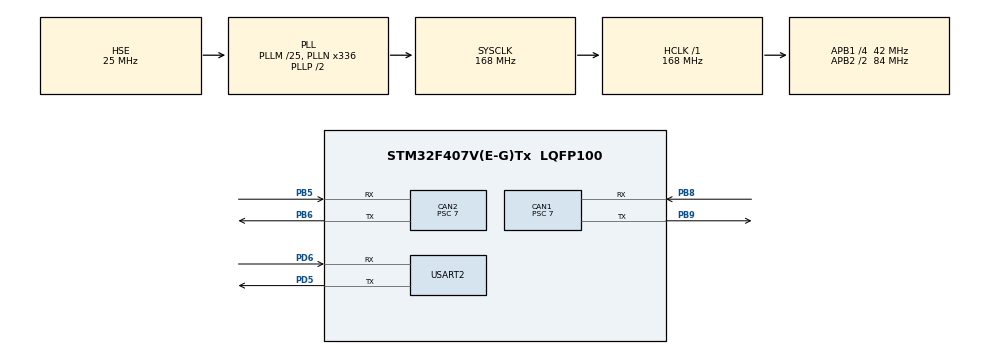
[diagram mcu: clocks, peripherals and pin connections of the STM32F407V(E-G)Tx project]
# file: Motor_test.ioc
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CAN1.BS1=CAN_BS1_3TQ
CAN1.BS2=CAN_BS2_2TQ
CAN1.CalculateBaudRate=999999
CAN1.CalculateTimeBit=1000
CAN1.CalculateTimeQuantum=166.66666666666669
CAN1.Prescaler=7
CAN2.BS1=CAN_BS1_3TQ
CAN2.BS2=CAN_BS2_2TQ
CAN2.CalculateBaudRate=999999
CAN2.CalculateTimeBit=1000
CAN2.CalculateTimeQuantum=166.66666666666669
CAN2.Prescaler=7
Mcu.Family=STM32F4
Mcu.Name=STM32F407V(E-G)Tx
Mcu.Package=LQFP100
NVIC.CAN1_RX0_IRQn=true\:0\:0\:false\:false\:true\:true\:true\:true
NVIC.CAN2_RX1_IRQn=true\:0\:0\:false\:false\:true\:true\:true\:true
NVIC.PriorityGroup=NVIC_PRIORITYGROUP_4
PA13.Mode=Serial_Wire
PA13.Signal=SYS_JTMS-SWDIO
PA14.Mode=Serial_Wire
PA14.Signal=SYS_JTCK-SWCLK
PB5.Mode=CAN_Activate
PB5.Signal=CAN2_RX
PB6.Mode=CAN_Activate
PB6.Signal=CAN2_TX
PB8.Mode=CAN_Activate
PB8.Signal=CAN1_RX
PB9.Mode=CAN_Activate
PB9.Signal=CAN1_TX
PD5.Mode=Asynchronous
PD5.Signal=USART2_TX
PD6.Mode=Asynchronous
PD6.Signal=USART2_RX
PH0-OSC_IN.Mode=HSE-External-Oscillator
PH0-OSC_IN.Signal=RCC_OSC_IN
PH1-OSC_OUT.Mode=HSE-External-Oscillator
PH1-OSC_OUT.Signal=RCC_OSC_OUT
ProjectManager.HeapSize=0x200
ProjectManager.StackSize=0x400
ProjectManager.TargetToolchain=MDK-ARM V5.32
RCC.48MHZClocksFreq_Value=84000000
RCC.AHBFreq_Value=168000000
RCC.APB1CLKDivider=RCC_HCLK_DIV4
RCC.APB1Freq_Value=42000000
RCC.APB1TimFreq_Value=84000000
RCC.APB2CLKDivider=RCC_HCLK_DIV2
RCC.APB2Freq_Value=84000000
RCC.APB2TimFreq_Value=168000000
RCC.CortexFreq_Value=168000000
RCC.HCLKFreq_Value=168000000
RCC.HSE_VALUE=25000000
RCC.HSI_VALUE=16000000
RCC.LSE_VALUE=32768
RCC.PLLM=25
RCC.PLLN=336
RCC.PLLSourceVirtual=RCC_PLLSOURCE_HSE
RCC.SYSCLKFreq_VALUE=168000000
RCC.SYSCLKSource=RCC_SYSCLKSOURCE_PLLCLK
RCC.VCOOutputFreq_Value=336000000
USART2.VirtualMode=VM_ASYNC
board=custom

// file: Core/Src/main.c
/* USER CODE BEGIN Header */
/**
  ******************************************************************************
  * @file           : main.c
  * @brief          : Main program body
  ******************************************************************************
  * @attention
  *
  * Copyright (c) 2023 STMicroelectronics.
  * All rights reserved.
  *
  * This software is licensed under terms that can be found in the LICENSE file
  * in the root directory of this software component.
  * If no LICENSE file comes with this software, it is provided AS-IS.
  *
  ******************************************************************************
  */
/* USER CODE END Header */
#include "main.h"
#include "can.h"
#include "usart.h"
#include "gpio.h"

/* USER CODE BEGIN Includes */
#include "CANDrive.h"
#include <motor.h>
/* USER CODE END Includes */

/* USER CODE BEGIN PTD */
GM3510_TypeDef My_3510_1;
GM3510_TypeDef My_3510_2;
GM3510_TypeDef My_3510_3;
GM3510_TypeDef My_3510_4;

int16_t My_speed;
int16_t data[4]={0,0,0,0};
/* USER CODE END PTD */

void SystemClock_Config(void);

int main(void)
{

  /* MCU Configuration--------------------------------------------------------*/

  /* Reset of all peripherals, Initializes the Flash interface and the Systick. */
  HAL_Init();

  /* Configure the system clock */
  SystemClock_Config();

  /* Initialize all configured peripherals */
  MX_GPIO_Init();
  MX_CAN1_Init();
  MX_CAN2_Init();
  MX_USART2_UART_Init();
  /* USER CODE BEGIN 2 */
  //开启配置
  CanFilter_Init(&hcan1);
  HAL_CAN_Start(&hcan1);
  HAL_CAN_ActivateNotification(&hcan1, CAN_IT_RX_FIFO0_MSG_PENDING);

  CanFilter_Init(&hcan2);
  HAL_CAN_Start(&hcan2);
  HAL_CAN_ActivateNotification(&hcan2, CAN_IT_RX_FIFO1_MSG_PENDING);
  /* USER CODE END 2 */

  /* Infinite loop */
  while (1)
  {

    /* USER CODE BEGIN 3 */
		data[0]=My_speed;
		MotorSend(&hcan1,0x200,data);
	  HAL_Delay(2);
  }
  /* USER CODE END 3 */
}

void SystemClock_Config(void)
{
  RCC_OscInitTypeDef RCC_OscInitStruct = {0};
  RCC_ClkInitTypeDef RCC_ClkInitStruct = {0};

  /** Configure the main internal regulator output voltage
  */
  __HAL_RCC_PWR_CLK_ENABLE();
  __HAL_PWR_VOLTAGESCALING_CONFIG(PWR_REGULATOR_VOLTAGE_SCALE1);

  /** Initializes the RCC Oscillators according to the specified parameters
  * in the RCC_OscInitTypeDef structure.
  */
  RCC_OscInitStruct.OscillatorType = RCC_OSCILLATORTYPE_HSE;
  RCC_OscInitStruct.HSEState = RCC_HSE_ON;
  RCC_OscInitStruct.PLL.PLLState = RCC_PLL_ON;
  RCC_OscInitStruct.PLL.PLLSource = RCC_PLLSOURCE_HSE;
  RCC_OscInitStruct.PLL.PLLM = 25;
  RCC_OscInitStruct.PLL.PLLN = 336;
  RCC_OscInitStruct.PLL.PLLP = RCC_PLLP_DIV2;
  RCC_OscInitStruct.PLL.PLLQ = 4;
  if (HAL_RCC_OscConfig(&RCC_OscInitStruct) != HAL_OK)
  {
    Error_Handler();
  }

  /** Initializes the CPU, AHB and APB buses clocks
  */
  RCC_ClkInitStruct.ClockType = RCC_CLOCKTYPE_HCLK|RCC_CLOCKTYPE_SYSCLK
                              |RCC_CLOCKTYPE_PCLK1|RCC_CLOCKTYPE_PCLK2;
  RCC_ClkInitStruct.SYSCLKSource = RCC_SYSCLKSOURCE_PLLCLK;
  RCC_ClkInitStruct.AHBCLKDivider = RCC_SYSCLK_DIV1;
  RCC_ClkInitStruct.APB1CLKDivider = RCC_HCLK_DIV4;
  RCC_ClkInitStruct.APB2CLKDivider = RCC_HCLK_DIV2;

  if (HAL_RCC_ClockConfig(&RCC_ClkInitStruct, FLASH_LATENCY_5) != HAL_OK)
  {
    Error_Handler();
  }
}

/* USER CODE BEGIN 4 */
void HAL_CAN_RxFifo0MsgPendingCallback(CAN_HandleTypeDef *hcan)
{
	  uint8_t data1[8];
    if(hcan->Instance == CAN1)
    {
        switch(CAN_Receive_DataFrame (hcan, data1))
					{
						//case 0x205:GM6020_Receive(&MY_6020,data1);brea
						case 0x201: GM3510_Receive(&My_3510_1,data1);
						case 0x202: GM3510_Receive(&My_3510_2,data1);
						case 0x203: GM3510_Receive(&My_3510_3,data1);
						case 0x204: GM3510_Receive(&My_3510_4,data1);
				}
    }
}

void HAL_CAN_RxFifo1MsgPendingCallback(CAN_HandleTypeDef *hcan)
{

	  if(hcan->Instance == CAN2){
	}
}
/* USER CODE END 4 */

void Error_Handler(void)
{
  __disable_irq();
  while (1)
  {
  }
}
